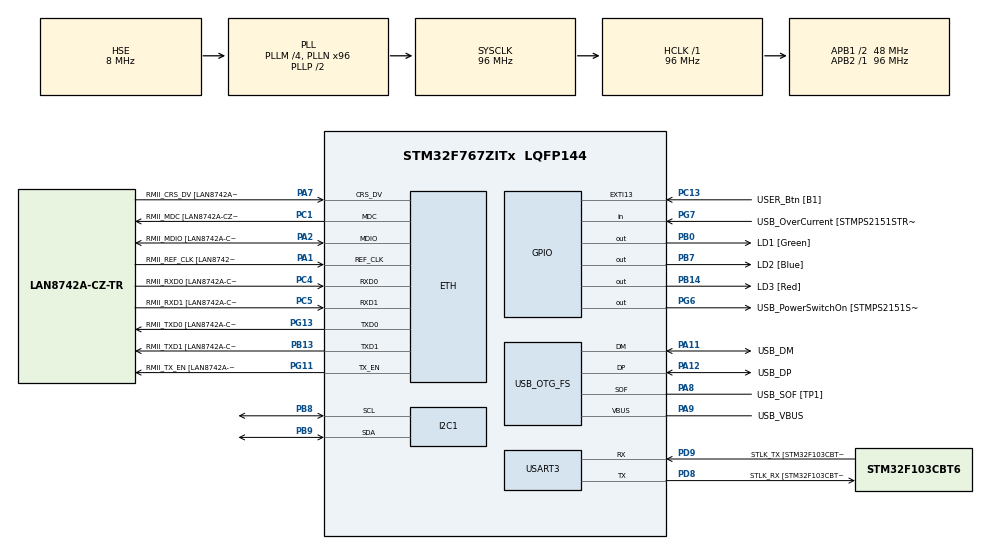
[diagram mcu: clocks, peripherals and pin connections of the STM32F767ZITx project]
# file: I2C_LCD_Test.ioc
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ETH.MediaInterface=HAL_ETH_RMII_MODE
ETH.PHY_Name=LAN8742A_PHY_ADDRESS
ETH.PHY_Value=0
ETH.PhyAddress=0
I2C1.Timing=0x20303E5D
Mcu.Family=STM32F7
Mcu.Name=STM32F767ZITx
Mcu.Package=LQFP144
NVIC.PriorityGroup=NVIC_PRIORITYGROUP_4
PA1.GPIO_Label=RMII_REF_CLK [LAN8742A-CZ-TR_REFCLK0]
PA1.Mode=RMII
PA1.Signal=ETH_REF_CLK
PA10.GPIO_Label=USB_ID
PA10.Signal=USB_OTG_FS_ID
PA11.GPIO_Label=USB_DM
PA11.Mode=Device_Only
PA11.Signal=USB_OTG_FS_DM
PA12.GPIO_Label=USB_DP
PA12.Mode=Device_Only
PA12.Signal=USB_OTG_FS_DP
PA13.GPIO_Label=TMS
PA13.Mode=Serial_Wire
PA13.Signal=SYS_JTMS-SWDIO
PA14.GPIO_Label=TCK
PA14.Mode=Serial_Wire
PA14.Signal=SYS_JTCK-SWCLK
PA2.GPIO_Label=RMII_MDIO [LAN8742A-CZ-TR_MDIO]
PA2.Mode=RMII
PA2.Signal=ETH_MDIO
PA7.GPIO_Label=RMII_CRS_DV [LAN8742A-CZ-TR_CRS_DV]
PA7.Mode=RMII
PA7.Signal=ETH_CRS_DV
PA8.GPIO_Label=USB_SOF [TP1]
PA8.Mode=Activate_SOF_FS
PA8.Signal=USB_OTG_FS_SOF
PA9.GPIO_Label=USB_VBUS
PA9.Mode=Activate_VBUS
PA9.Signal=USB_OTG_FS_VBUS
PB0.GPIO_Label=LD1 [Green]
PB0.Signal=GPIO_Output
PB13.GPIO_Label=RMII_TXD1 [LAN8742A-CZ-TR_TXD1]
PB13.Mode=RMII
PB13.Signal=ETH_TXD1
PB14.GPIO_Label=LD3 [Red]
PB14.Signal=GPIO_Output
PB3.GPIO_Label=SWO
PB3.Signal=SYS_JTDO-SWO
PB7.GPIO_Label=LD2 [Blue]
PB7.Signal=GPIO_Output
PB8.GPIO_Pu=GPIO_PULLUP
PB8.Mode=I2C
PB8.Signal=I2C1_SCL
PB9.GPIO_Pu=GPIO_PULLUP
PB9.Mode=I2C
PB9.Signal=I2C1_SDA
PC1.GPIO_Label=RMII_MDC [LAN8742A-CZ-TR_MDC]
PC1.Mode=RMII
PC1.Signal=ETH_MDC
PC13.GPIO_Label=USER_Btn [B1]
PC13.Signal=GPXTI13
PC14/OSC32_IN.Mode=LSE-External-Oscillator
PC14/OSC32_IN.Signal=RCC_OSC32_IN
PC15/OSC32_OUT.Mode=LSE-External-Oscillator
PC15/OSC32_OUT.Signal=RCC_OSC32_OUT
PC4.GPIO_Label=RMII_RXD0 [LAN8742A-CZ-TR_RXD0]
PC4.Mode=RMII
PC4.Signal=ETH_RXD0
PC5.GPIO_Label=RMII_RXD1 [LAN8742A-CZ-TR_RXD1]
PC5.Mode=RMII
PC5.Signal=ETH_RXD1
PD8.GPIO_Label=STLK_RX [STM32F103CBT6_PA3]
PD8.Mode=Asynchronous
PD8.Signal=USART3_TX
PD9.GPIO_Label=STLK_TX [STM32F103CBT6_PA2]
PD9.Mode=Asynchronous
PD9.Signal=USART3_RX
PG11.GPIO_Label=RMII_TX_EN [LAN8742A-CZ-TR_TXEN]
PG11.Mode=RMII
PG11.Signal=ETH_TX_EN
PG13.GPIO_Label=RMII_TXD0 [LAN8742A-CZ-TR_TXD0]
PG13.Mode=RMII
PG13.Signal=ETH_TXD0
PG6.GPIO_Label=USB_PowerSwitchOn [STMPS2151STR_EN]
PG6.Signal=GPIO_Output
PG7.GPIO_Label=USB_OverCurrent [STMPS2151STR_FAULT]
PG7.Signal=GPIO_Input
PH0/OSC_IN.GPIO_Label=MCO [STM32F103CBT6_PA8]
PH0/OSC_IN.Mode=HSE-External-Clock-Source
PH0/OSC_IN.Signal=RCC_OSC_IN
PH1/OSC_OUT.Mode=HSE-External-Clock-Source
PH1/OSC_OUT.Signal=RCC_OSC_OUT
ProjectManager.HeapSize=0x200
ProjectManager.StackSize=0x400
ProjectManager.TargetToolchain=STM32CubeIDE
RCC.48MHZClocksFreq_Value=24000000
RCC.AHBFreq_Value=96000000
RCC.APB1CLKDivider=RCC_HCLK_DIV2
RCC.APB1Freq_Value=48000000
RCC.APB1TimFreq_Value=96000000
RCC.APB2Freq_Value=96000000
RCC.APB2TimFreq_Value=96000000
RCC.CortexFreq_Value=96000000
RCC.HCLKFreq_Value=96000000
RCC.HSE_VALUE=8000000
RCC.HSI_VALUE=16000000
RCC.PLLM=4
RCC.PLLMUL=RCC_PLL_MUL9
RCC.PLLN=96
RCC.PLLQ=4
RCC.PRESCALERUSB=RCC_USBCLKSOURCE_PLL_DIV1_5
RCC.SYSCLKFreq_VALUE=96000000
RCC.SYSCLKSource=RCC_SYSCLKSOURCE_PLLCLK
RCC.SYSCLKSourceVirtual=RCC_SYSCLKSOURCE_PLLCLK
RCC.USBFreq_Value=48000000
RCC.VCOOutputFreq_Value=192000000
USART3.VirtualMode-Asynchronous=VM_ASYNC
USB_OTG_FS.VirtualMode=Device_Only
board=NUCLEO-F767ZI

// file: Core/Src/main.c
/* USER CODE BEGIN Header */
/**
  ******************************************************************************
  * @file           : main.c
  * @brief          : Main program body
  ******************************************************************************
  * @attention
  *
  * Copyright (c) 2024 STMicroelectronics.
  * All rights reserved.
  *
  * This software is licensed under terms that can be found in the LICENSE file
  * in the root directory of this software component.
  * If no LICENSE file comes with this software, it is provided AS-IS.
  *
  ******************************************************************************
  */
/* USER CODE END Header */
#include "main.h"
#include "string.h"

/* USER CODE BEGIN Includes */

#include "../../ECUAL/I2C_LCD/I2C_LCD.h"

#define MyI2C_LCD I2C_LCD_1

I2C_HandleTypeDef hi2c1;

uint8_t HeartChar[] = {0x00, 0x00, 0x0a, 0x15, 0x11, 0x0a, 0x04, 0x00};
uint8_t SmileyFaceChar[] = {0x00, 0x00, 0x0a, 0x00, 0x1f, 0x11, 0x0e, 0x00};

/* USER CODE END Includes */

#if defined ( __ICCARM__ ) /*!< IAR Compiler */
#pragma location=0x2007c000
ETH_DMADescTypeDef  DMARxDscrTab[ETH_RX_DESC_CNT]; /* Ethernet Rx DMA Descriptors */
#pragma location=0x2007c0a0
ETH_DMADescTypeDef  DMATxDscrTab[ETH_TX_DESC_CNT]; /* Ethernet Tx DMA Descriptors */

#elif defined ( __CC_ARM )  /* MDK ARM Compiler */

__attribute__((at(0x2007c000))) ETH_DMADescTypeDef  DMARxDscrTab[ETH_RX_DESC_CNT]; /* Ethernet Rx DMA Descriptors */
__attribute__((at(0x2007c0a0))) ETH_DMADescTypeDef  DMATxDscrTab[ETH_TX_DESC_CNT]; /* Ethernet Tx DMA Descriptors */

#elif defined ( __GNUC__ ) /* GNU Compiler */

ETH_DMADescTypeDef DMARxDscrTab[ETH_RX_DESC_CNT] __attribute__((section(".RxDecripSection"))); /* Ethernet Rx DMA Descriptors */
ETH_DMADescTypeDef DMATxDscrTab[ETH_TX_DESC_CNT] __attribute__((section(".TxDecripSection")));   /* Ethernet Tx DMA Descriptors */
#endif

ETH_TxPacketConfig TxConfig;

ETH_HandleTypeDef heth;

I2C_HandleTypeDef hi2c1;

UART_HandleTypeDef huart3;

PCD_HandleTypeDef hpcd_USB_OTG_FS;

void SystemClock_Config(void);
static void MX_GPIO_Init(void);
static void MX_ETH_Init(void);
static void MX_USART3_UART_Init(void);
static void MX_USB_OTG_FS_PCD_Init(void);
static void MX_I2C1_Init(void);

int main(void)
{

  /* MCU Configuration--------------------------------------------------------*/

  /* Reset of all peripherals, Initializes the Flash interface and the Systick. */
  HAL_Init();

  /* Configure the system clock */
  SystemClock_Config();

  /* Initialize all configured peripherals */
  MX_GPIO_Init();
  MX_ETH_Init();
  MX_USART3_UART_Init();
  MX_USB_OTG_FS_PCD_Init();
  MX_I2C1_Init();
  /* USER CODE BEGIN 2 */

  I2C_LCD_Init(MyI2C_LCD);
  I2C_LCD_CreateCustomChar(MyI2C_LCD, 0, HeartChar);
  I2C_LCD_CreateCustomChar(MyI2C_LCD, 1, SmileyFaceChar);
  I2C_LCD_SetCursor(MyI2C_LCD, 0, 0);
  I2C_LCD_WriteString(MyI2C_LCD, "DeepBlueMbedded");
  I2C_LCD_SetCursor(MyI2C_LCD, 0, 1);
  I2C_LCD_WriteString(MyI2C_LCD, "I2C LCD ");
  I2C_LCD_PrintCustomChar(MyI2C_LCD, 1);
  I2C_LCD_PrintCustomChar(MyI2C_LCD, 0);

	I2C_LCD_SetCursor(MyI2C_LCD, 0, 2);
	I2C_LCD_WriteString(MyI2C_LCD, "DeepBlueMbedded");
	I2C_LCD_SetCursor(MyI2C_LCD, 0, 3);
	I2C_LCD_WriteString(MyI2C_LCD, "I2C LCD ");
	I2C_LCD_PrintCustomChar(MyI2C_LCD, 1);
	I2C_LCD_PrintCustomChar(MyI2C_LCD, 0);

	//still to do, DMA?, No because display needs 52us delays between nibble writes,
	//but could breakup I2C_LCD_WriteString via timer ints, 100us on off, as min sleep 10ms (same with printf)
	//else will cause other tasks to wait longer to run, so may need Q from other ints
	//HAL delay (use sleep in Task) and other delays block RTOS, use Timer delays?
	//DELAY_US/MS uses SysTick for accurate time, but blocks, don't use in interrupts.
	//HAL also uses SysTick
	//SCL PB8
	//SDA PB9
	//1st run will see some backlight flashing, means connected, contrast adjust needed else will see nothing.

	/* USER CODE END 2 */

  /* Infinite loop */
  /* USER CODE BEGIN WHILE */
  while (1)
  {

		I2C_LCD_NoBacklight(MyI2C_LCD);	HAL_Delay(1000);
		I2C_LCD_Backlight(MyI2C_LCD);	HAL_Delay(1000);
		I2C_LCD_ShiftRight(MyI2C_LCD);	HAL_Delay(500);
		I2C_LCD_ShiftRight(MyI2C_LCD);	HAL_Delay(500);
		I2C_LCD_ShiftRight(MyI2C_LCD);	HAL_Delay(500);
		I2C_LCD_ShiftLeft(MyI2C_LCD);	HAL_Delay(500);
		I2C_LCD_ShiftLeft(MyI2C_LCD);	HAL_Delay(500);
		I2C_LCD_ShiftLeft(MyI2C_LCD);	HAL_Delay(500);
		I2C_LCD_Cursor(MyI2C_LCD);		HAL_Delay(1000);
		I2C_LCD_Blink(MyI2C_LCD);		HAL_Delay(2000);
		I2C_LCD_NoBlink(MyI2C_LCD);		HAL_Delay(2000);
		I2C_LCD_NoCursor(MyI2C_LCD);	HAL_Delay(1000);
		I2C_LCD_NoDisplay(MyI2C_LCD);	HAL_Delay(1000);
		I2C_LCD_Display(MyI2C_LCD);		HAL_Delay(1000);

    /* USER CODE END WHILE */

  }
}

void SystemClock_Config(void)
{
  RCC_OscInitTypeDef RCC_OscInitStruct = {0};
  RCC_ClkInitTypeDef RCC_ClkInitStruct = {0};

  /** Configure LSE Drive Capability
  */
  HAL_PWR_EnableBkUpAccess();

  /** Configure the main internal regulator output voltage
  */
  __HAL_RCC_PWR_CLK_ENABLE();
  __HAL_PWR_VOLTAGESCALING_CONFIG(PWR_REGULATOR_VOLTAGE_SCALE3);

  /** Initializes the RCC Oscillators according to the specified parameters
  * in the RCC_OscInitTypeDef structure.
  */
  RCC_OscInitStruct.OscillatorType = RCC_OSCILLATORTYPE_HSE;
  RCC_OscInitStruct.HSEState = RCC_HSE_BYPASS;
  RCC_OscInitStruct.PLL.PLLState = RCC_PLL_ON;
  RCC_OscInitStruct.PLL.PLLSource = RCC_PLLSOURCE_HSE;
  RCC_OscInitStruct.PLL.PLLM = 4;
  RCC_OscInitStruct.PLL.PLLN = 96;
  RCC_OscInitStruct.PLL.PLLP = RCC_PLLP_DIV2;
  RCC_OscInitStruct.PLL.PLLQ = 4;
  RCC_OscInitStruct.PLL.PLLR = 2;
  if (HAL_RCC_OscConfig(&RCC_OscInitStruct) != HAL_OK)
  {
    Error_Handler();
  }

  /** Activate the Over-Drive mode
  */
  if (HAL_PWREx_EnableOverDrive() != HAL_OK)
  {
    Error_Handler();
  }

  /** Initializes the CPU, AHB and APB buses clocks
  */
  RCC_ClkInitStruct.ClockType = RCC_CLOCKTYPE_HCLK|RCC_CLOCKTYPE_SYSCLK
                              |RCC_CLOCKTYPE_PCLK1|RCC_CLOCKTYPE_PCLK2;
  RCC_ClkInitStruct.SYSCLKSource = RCC_SYSCLKSOURCE_PLLCLK;
  RCC_ClkInitStruct.AHBCLKDivider = RCC_SYSCLK_DIV1;
  RCC_ClkInitStruct.APB1CLKDivider = RCC_HCLK_DIV2;
  RCC_ClkInitStruct.APB2CLKDivider = RCC_HCLK_DIV1;

  if (HAL_RCC_ClockConfig(&RCC_ClkInitStruct, FLASH_LATENCY_3) != HAL_OK)
  {
    Error_Handler();
  }
}

static void MX_ETH_Init(void)
{

   static uint8_t MACAddr[6];

  heth.Instance = ETH;
  MACAddr[0] = 0x00;
  MACAddr[1] = 0x80;
  MACAddr[2] = 0xE1;
  MACAddr[3] = 0x00;
  MACAddr[4] = 0x00;
  MACAddr[5] = 0x00;
  heth.Init.MACAddr = &MACAddr[0];
  heth.Init.MediaInterface = HAL_ETH_RMII_MODE;
  heth.Init.TxDesc = DMATxDscrTab;
  heth.Init.RxDesc = DMARxDscrTab;
  heth.Init.RxBuffLen = 1524;

  if (HAL_ETH_Init(&heth) != HAL_OK)
  {
    Error_Handler();
  }

  memset(&TxConfig, 0 , sizeof(ETH_TxPacketConfig));
  TxConfig.Attributes = ETH_TX_PACKETS_FEATURES_CSUM | ETH_TX_PACKETS_FEATURES_CRCPAD;
  TxConfig.ChecksumCtrl = ETH_CHECKSUM_IPHDR_PAYLOAD_INSERT_PHDR_CALC;
  TxConfig.CRCPadCtrl = ETH_CRC_PAD_INSERT;

}

static void MX_I2C1_Init(void)
{

  hi2c1.Instance = I2C1;
  hi2c1.Init.Timing = 0x20303E5D;
  hi2c1.Init.OwnAddress1 = 0;
  hi2c1.Init.AddressingMode = I2C_ADDRESSINGMODE_7BIT;
  hi2c1.Init.DualAddressMode = I2C_DUALADDRESS_DISABLE;
  hi2c1.Init.OwnAddress2 = 0;
  hi2c1.Init.OwnAddress2Masks = I2C_OA2_NOMASK;
  hi2c1.Init.GeneralCallMode = I2C_GENERALCALL_DISABLE;
  hi2c1.Init.NoStretchMode = I2C_NOSTRETCH_DISABLE;
  if (HAL_I2C_Init(&hi2c1) != HAL_OK)
  {
    Error_Handler();
  }

  /** Configure Analogue filter
  */
  if (HAL_I2CEx_ConfigAnalogFilter(&hi2c1, I2C_ANALOGFILTER_ENABLE) != HAL_OK)
  {
    Error_Handler();
  }

  /** Configure Digital filter
  */
  if (HAL_I2CEx_ConfigDigitalFilter(&hi2c1, 0) != HAL_OK)
  {
    Error_Handler();
  }

}

static void MX_USART3_UART_Init(void)
{

  huart3.Instance = USART3;
  huart3.Init.BaudRate = 115200;
  huart3.Init.WordLength = UART_WORDLENGTH_8B;
  huart3.Init.StopBits = UART_STOPBITS_1;
  huart3.Init.Parity = UART_PARITY_NONE;
  huart3.Init.Mode = UART_MODE_TX_RX;
  huart3.Init.HwFlowCtl = UART_HWCONTROL_NONE;
  huart3.Init.OverSampling = UART_OVERSAMPLING_16;
  huart3.Init.OneBitSampling = UART_ONE_BIT_SAMPLE_DISABLE;
  huart3.AdvancedInit.AdvFeatureInit = UART_ADVFEATURE_NO_INIT;
  if (HAL_UART_Init(&huart3) != HAL_OK)
  {
    Error_Handler();
  }

}

static void MX_USB_OTG_FS_PCD_Init(void)
{

  hpcd_USB_OTG_FS.Instance = USB_OTG_FS;
  hpcd_USB_OTG_FS.Init.dev_endpoints = 6;
  hpcd_USB_OTG_FS.Init.speed = PCD_SPEED_FULL;
  hpcd_USB_OTG_FS.Init.dma_enable = DISABLE;
  hpcd_USB_OTG_FS.Init.phy_itface = PCD_PHY_EMBEDDED;
  hpcd_USB_OTG_FS.Init.Sof_enable = ENABLE;
  hpcd_USB_OTG_FS.Init.low_power_enable = DISABLE;
  hpcd_USB_OTG_FS.Init.lpm_enable = DISABLE;
  hpcd_USB_OTG_FS.Init.vbus_sensing_enable = ENABLE;
  hpcd_USB_OTG_FS.Init.use_dedicated_ep1 = DISABLE;
  if (HAL_PCD_Init(&hpcd_USB_OTG_FS) != HAL_OK)
  {
    Error_Handler();
  }

}

static void MX_GPIO_Init(void)
{
  GPIO_InitTypeDef GPIO_InitStruct = {0};

  /* GPIO Ports Clock Enable */
  __HAL_RCC_GPIOC_CLK_ENABLE();
  __HAL_RCC_GPIOH_CLK_ENABLE();
  __HAL_RCC_GPIOA_CLK_ENABLE();
  __HAL_RCC_GPIOB_CLK_ENABLE();
  __HAL_RCC_GPIOD_CLK_ENABLE();
  __HAL_RCC_GPIOG_CLK_ENABLE();

  /*Configure GPIO pin Output Level */
  HAL_GPIO_WritePin(GPIOB, LD1_Pin|LD3_Pin|LD2_Pin, GPIO_PIN_RESET);

  /*Configure GPIO pin Output Level */
  HAL_GPIO_WritePin(USB_PowerSwitchOn_GPIO_Port, USB_PowerSwitchOn_Pin, GPIO_PIN_RESET);

  /*Configure GPIO pin : USER_Btn_Pin */
  GPIO_InitStruct.Pin = USER_Btn_Pin;
  GPIO_InitStruct.Mode = GPIO_MODE_IT_RISING;
  GPIO_InitStruct.Pull = GPIO_NOPULL;
  HAL_GPIO_Init(USER_Btn_GPIO_Port, &GPIO_InitStruct);

  /*Configure GPIO pins : LD1_Pin LD3_Pin LD2_Pin */
  GPIO_InitStruct.Pin = LD1_Pin|LD3_Pin|LD2_Pin;
  GPIO_InitStruct.Mode = GPIO_MODE_OUTPUT_PP;
  GPIO_InitStruct.Pull = GPIO_NOPULL;
  GPIO_InitStruct.Speed = GPIO_SPEED_FREQ_LOW;
  HAL_GPIO_Init(GPIOB, &GPIO_InitStruct);

  /*Configure GPIO pin : USB_PowerSwitchOn_Pin */
  GPIO_InitStruct.Pin = USB_PowerSwitchOn_Pin;
  GPIO_InitStruct.Mode = GPIO_MODE_OUTPUT_PP;
  GPIO_InitStruct.Pull = GPIO_NOPULL;
  GPIO_InitStruct.Speed = GPIO_SPEED_FREQ_LOW;
  HAL_GPIO_Init(USB_PowerSwitchOn_GPIO_Port, &GPIO_InitStruct);

  /*Configure GPIO pin : USB_OverCurrent_Pin */
  GPIO_InitStruct.Pin = USB_OverCurrent_Pin;
  GPIO_InitStruct.Mode = GPIO_MODE_INPUT;
  GPIO_InitStruct.Pull = GPIO_NOPULL;
  HAL_GPIO_Init(USB_OverCurrent_GPIO_Port, &GPIO_InitStruct);

}

void Error_Handler(void)
{
  __disable_irq();
  while (1)
  {
  }
}
